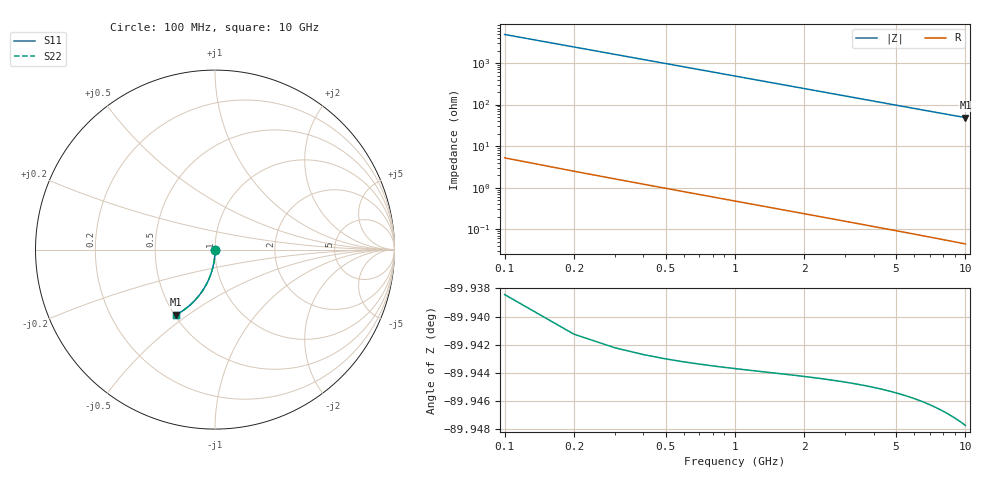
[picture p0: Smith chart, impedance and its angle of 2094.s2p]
# Hz S RI R 50.00
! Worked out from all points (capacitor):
!   100 points, 100 MHz to 10 GHz, reference 50 ohm
!   read as one part in shunt: C = 327 fF near 100 MHz
!   lowest |Z| = 48.7 ohm at 10 GHz (marker M1)
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1e8  9.54e-05 -0.00465  0.9998 -0.00563  0.9998 -0.00563  9.54e-05 -0.00465
2e8  1.27e-05 -0.0093  0.9998 -0.0113  0.9998 -0.0113  1.27e-05 -0.0093
3e8  -0.000122 -0.0139  0.9996 -0.0169  0.9996 -0.0169  -0.000122 -0.0139
4e8  -0.00031 -0.0186  0.9994 -0.0225  0.9994 -0.0225  -0.00031 -0.0186
5e8  -0.00055 -0.0232  0.9992 -0.0281  0.9992 -0.0281  -0.00055 -0.0232
6e8  -0.000842 -0.0279  0.9989 -0.0337  0.9989 -0.0337  -0.000842 -0.0279
7e8  -0.00119 -0.0325  0.9985 -0.0394  0.9985 -0.0394  -0.00119 -0.0325
8e8  -0.00158 -0.0372  0.9981 -0.045  0.9981 -0.045  -0.00158 -0.0372
9e8  -0.00203 -0.0418  0.9977 -0.0506  0.9977 -0.0506  -0.00203 -0.0418
1.1e9  -0.00309 -0.051  0.9966 -0.0618  0.9966 -0.0618  -0.00309 -0.051
1.4e9  -0.00506 -0.0648  0.9946 -0.0785  0.9946 -0.0785  -0.00506 -0.0648
1.8e9  -0.0084 -0.0831  0.9912 -0.1007  0.9912 -0.1007  -0.0084 -0.0831
2.1e9  -0.0114 -0.0967  0.9881 -0.1172  0.9881 -0.1172  -0.0114 -0.0967
2.5e9  -0.0162 -0.1146  0.9832 -0.139  0.9832 -0.139  -0.0162 -0.1146
2.9e9  -0.0217 -0.1322  0.9776 -0.1606  0.9776 -0.1606  -0.0217 -0.1322
3.4e9  -0.0297 -0.1538  0.9695 -0.1871  0.9695 -0.1871  -0.0297 -0.1538
4.2e9  -0.0448 -0.187  0.954 -0.2283  0.954 -0.2283  -0.0448 -0.187
5.1e9  -0.065 -0.2223  0.9335 -0.2725  0.9335 -0.2725  -0.065 -0.2223
5.9e9  -0.0854 -0.2514  0.9126 -0.3096  0.9126 -0.3096  -0.0854 -0.2514
6.7e9  -0.1079 -0.2782  0.8896 -0.3445  0.8896 -0.3445  -0.1079 -0.2782
8.4e9  -0.161 -0.327  0.8352 -0.4106  0.8352 -0.4106  -0.161 -0.327
1e10  -0.2152 -0.3622  0.7794 -0.4624  0.7794 -0.4624  -0.2152 -0.3622
